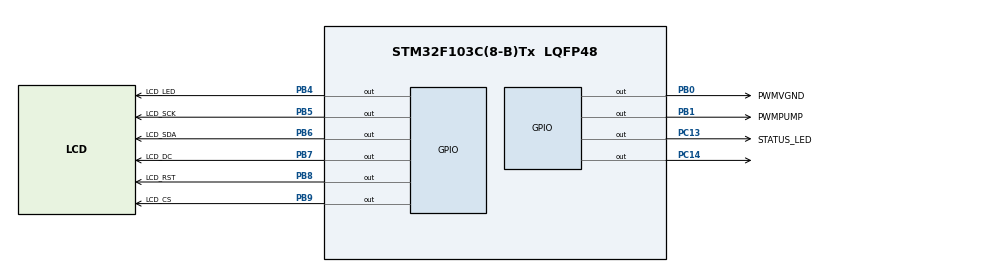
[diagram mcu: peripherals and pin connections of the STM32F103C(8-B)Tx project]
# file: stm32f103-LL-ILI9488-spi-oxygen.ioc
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Mcu.Family=STM32F1
PB7.GPIO_PuPd=GPIO_NOPULL
RCC.PLLSourceVirtual=RCC_PLLSOURCE_HSE
PB5.GPIO_ModeDefaultOutputPP=GPIO_MODE_OUTPUT_PP
FREERTOS.Tasks01=defaultTask,0,64,StartDefaultTask,Default,NULL,Dynamic,NULL,NULL;myTask02,-3,64,StartTask02,Default,NULL,Dynamic,NULL,NULL;myTask03,-2,64,StartTask03,Default,NULL,Dynamic,NULL,NULL;myTask04,-1,256,StartTask04,Default,NULL,Dynamic,NULL,NULL;myTask05,-3,64,StartTask05,Default,NULL,Dynamic,NULL,NULL;myTask06,-3,64,StartTask06,Default,NULL,Dynamic,NULL,NULL
PD1-OSC_OUT.Mode=HSE-External-Oscillator
PB9.GPIO_Label=LCD_CS
PB6.GPIO_PuPd=GPIO_NOPULL
PB8.GPIO_PuPd=GPIO_NOPULL
PB9.GPIO_ModeDefaultOutputPP=GPIO_MODE_OUTPUT_PP
PC13-TAMPER-RTC.Signal=GPIO_Output
PB0.GPIO_Label=PWMVGND
PB6.GPIO_Label=LCD_SDA
PD0-OSC_IN.Signal=RCC_OSC_IN
RCC.APB1CLKDivider=RCC_HCLK_DIV4
PC14-OSC32_IN.Signal=GPIO_Output
RCC.SYSCLKSource=RCC_SYSCLKSOURCE_PLLCLK
ProjectManager.StackSize=0x800
PD1-OSC_OUT.Signal=RCC_OSC_OUT
RCC.ADCPresc=RCC_ADCPCLK2_DIV6
PA13.Signal=SYS_JTMS-SWDIO
PB8.GPIO_Label=LCD_RST
ProjectManager.TargetToolchain=Makefile
RCC.HCLKFreq_Value=128000000
RCC.APB2TimFreq_Value=128000000
TIM3.Period=255
PB6.Signal=GPIO_Output
PB5.PinState=GPIO_PIN_RESET
PB4.GPIO_PuPd=GPIO_NOPULL
RCC.USBFreq_Value=128000000
FREERTOS.configMINIMAL_STACK_SIZE=64
RCC.AHBFreq_Value=128000000
PD0-OSC_IN.Mode=HSE-External-Oscillator
board=custom
PC13-TAMPER-RTC.GPIO_Label=STATUS_LED
RCC.PLLMUL=RCC_PLL_MUL16
PB4.GPIO_Speed=GPIO_SPEED_FREQ_LOW
RCC.APB2Freq_Value=64000000
PB4.GPIO_Label=LCD_LED
PC13-TAMPER-RTC.PinState=GPIO_PIN_RESET
PA14.Mode=Serial_Wire
PB7.GPIO_ModeDefaultOutputPP=GPIO_MODE_OUTPUT_PP
TIM3.Prescaler=100
PB1.GPIO_Label=PWMPUMP
PB8.PinState=GPIO_PIN_RESET
PB7.Signal=GPIO_Output
PC13-TAMPER-RTC.GPIO_Speed=GPIO_SPEED_FREQ_LOW
VP_FREERTOS_VS_CMSIS_V1.Mode=CMSIS_V1
PA13.Mode=Serial_Wire
Mcu.Name=STM32F103C(8-B)Tx
FREERTOS.configTOTAL_HEAP_SIZE=5680
PB7.PinState=GPIO_PIN_RESET
PB7.GPIO_Label=LCD_DC
RCC.SYSCLKFreq_VALUE=128000000
PC13-TAMPER-RTC.GPIO_ModeDefaultOutputPP=GPIO_MODE_OUTPUT_PP
Mcu.Package=LQFP48
PB5.Signal=GPIO_Output
PB9.Signal=GPIO_Output
PB1.Signal=GPIO_Output
PB5.GPIO_PuPd=GPIO_NOPULL
PC13-TAMPER-RTC.GPIO_PuPd=GPIO_NOPULL
PB9.PinState=GPIO_PIN_RESET
PB6.PinState=GPIO_PIN_RESET
PB6.GPIO_ModeDefaultOutputPP=GPIO_MODE_OUTPUT_PP
PA14.Signal=SYS_JTCK-SWCLK
PB9.GPIO_PuPd=GPIO_NOPULL
ProjectManager.HeapSize=0x1000
PB8.GPIO_ModeDefaultOutputPP=GPIO_MODE_OUTPUT_PP
PB5.GPIO_Speed=GPIO_SPEED_FREQ_HIGH
NVIC.PriorityGroup=NVIC_PRIORITYGROUP_4
RCC.APB2CLKDivider=RCC_HCLK_DIV2
PB9.GPIO_Speed=GPIO_SPEED_FREQ_LOW
PB5.GPIO_Label=LCD_SCK
RCC.APB1TimFreq_Value=64000000
PB8.Signal=GPIO_Output
PB6.GPIO_Speed=GPIO_SPEED_FREQ_HIGH
RCC.APB1Freq_Value=32000000
PB8.GPIO_Speed=GPIO_SPEED_FREQ_LOW
PB0.Signal=GPIO_Output
PB4.PinState=GPIO_PIN_RESET
VP_TIM3_VS_ClockSourceINT.Mode=Internal
PB4.Signal=GPIO_Output
PB4.GPIO_ModeDefaultOutputPP=GPIO_MODE_OUTPUT_PP
PB7.GPIO_Speed=GPIO_SPEED_FREQ_LOW

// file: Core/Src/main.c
/* USER CODE BEGIN Header */
/**
  ******************************************************************************
  * @file           : main.c
  * @brief          : Main program body
  ******************************************************************************
  * @attention
  *
  * <h2><center>&copy; Copyright (c) 2019 STMicroelectronics.
  * All rights reserved.</center></h2>
  *
  * This software component is licensed by ST under BSD 3-Clause license,
  * the "License"; You may not use this file except in compliance with the
  * License. You may obtain a copy of the License at:
  *                        opensource.org/licenses/BSD-3-Clause
  *
  ******************************************************************************
  */
/* USER CODE END Header */
#include "main.h"
#include "cmsis_os.h"
#include "tim.h"
#include "gpio.h"

/* USER CODE BEGIN Includes */
#include "adc_cfg.h"
#include <math.h>
//#include <stdlib.h>
#include "ILI9488.h"
#include "soft_lcd.h"
#include "soft_adc.h"
#include "soft_ina219.h"
#include "soft_pcf8591.h"

#include "pins_ext.h"

#define m_PI 3.14159

uint32_t adcResult = 0;
uint32_t max_result = 0;
float real_result[160] = {0};

uint16_t adc_counter = 0;
uint16_t i = 0;

uint16_t coord_x[160] = {0};
uint16_t coord_y[160] = {0};

uint32_t tim_counter = 0;
void fill_text(uint16_t i);

lcd_t *lcd; // pointer to i2c object, for lcd module
adc_t *adc; // pointer to i2c object, for ads1115
ina_t *ina; // pointer to i2c object, for ina219

void fill_buff(uint16_t i)
{
  if(i>158)
  {
    max_result = 0;
    for(uint16_t i = 0; i < 160; i++)
    {
      // ILI9488_fillCircle(coord_x[i], coord_y[i], 2, ILI9488_BLACK);
      // ILI9488_drawLine(coord_x[i], coord_y[i], coord_x[i-1], coord_y[i-1], ILI9488_BLACK); //(  x0,y0,x1,y1,color);
      // ILI9488_drawLine(coord_x[i], coord_y[i]+1, coord_x[i-1], coord_y[i-1]+1, ILI9488_BLACK); //(  x0,y0,x1,y1,color);
      ILI9488_drawLine(coord_x[i], coord_y[i]-1, coord_x[i-1], coord_y[i-1]-1, ILI9488_BLACK); //(  x0,y0,x1,y1,color);
      // ILI9488_drawLine(coord_x[i]+1, coord_y[i], coord_x[i-1]+1, coord_y[i-1], ILI9488_BLACK); //(  x0,y0,x1,y1,color);
      ILI9488_drawLine(coord_x[i]-1, coord_y[i], coord_x[i-1]-1, coord_y[i-1], ILI9488_BLACK); //(  x0,y0,x1,y1,color);
    }

    // ILI9488_fillScreen(ILI9488_BLACK);
    for(uint16_t i = 5; i<160; i+=23) ILI9488_drawLine( i, 10, i, 230, ILI9488_WHITE); //draw vertical lines
    for(uint16_t i = 10; i<128; i+=22) ILI9488_drawLine( 10, i, 300, i, ILI9488_WHITE); //draw horizontal lines
    ILI9488_drawLine( 10, 119, 300, 119, ILI9488_WHITE); //draw horizontal lines
    // ILI9488_drawLine( 10, 121, 300, 121, ILI9488_WHITE); //draw horizontal lines
    fill_text(i);
  }

  while(adc_counter < 12) // Пока количество измерений меньше N
  {
    adcResult += read_adc(ADC1, 0);
    adc_counter++; // Увеличиваем счетчик измерений
  }

  coord_x[i] = i; // сохраняем координаты <cord_x/y> в буфер для последующей очистки дисплея
  coord_y[i] = 230-adcResult/adc_counter/18; // Вычисляем среднее значение
  real_result[i] = adcResult/adc_counter*0.82; // 3300/4096=0.80566 Вычисляем среднее значение

  if(real_result[i]<500) real_result[i] = 0;
  if(real_result[i]>500) real_result[i] -= 500;
  real_result[i] *= .4; // значение в барах

  adcResult = 0; // Обнуляем значение
  adc_counter = 0; // Обнуляем счетчик измерений
  if(real_result[i]>max_result) max_result = real_result[i]; // сохранение максимального числа
}

void write_graph(uint16_t i)
{
  if(i) // draw values
  {
    // fill_text(i);
    // ILI9488_fillCircle(coord_x[i], coord_y[i], 2, ILI9488_YELLOW);
    // ILI9488_drawLine(coord_x[i], coord_y[i], coord_x[i-1], coord_y[i-1], ILI9488_CYAN); //(  x0,y0,x1,y1,color);
    // ILI9488_drawLine(coord_x[i], coord_y[i]+1, coord_x[i-1], coord_y[i-1]+1, ILI9488_GREEN); //(  x0,y0,x1,y1,color);
    ILI9488_drawLine(coord_x[i], coord_y[i]-1, coord_x[i-1], coord_y[i-1]-1, ILI9488_CYAN); //(  x0,y0,x1,y1,color);
    // ILI9488_drawLine(coord_x[i]+1, coord_y[i], coord_x[i-1]+1, coord_y[i-1], ILI9488_GREEN); //(  x0,y0,x1,y1,color);
    ILI9488_drawLine(coord_x[i]-1, coord_y[i], coord_x[i-1]-1, coord_y[i-1], ILI9488_CYAN); //(  x0,y0,x1,y1,color);
  }
}

void fill_text(uint16_t i)
{
  ILI9488_setTextBgColor(ILI9488_BLACK);

  ILI9488_setTextSize(2);
  ILI9488_setTextColor(ILI9488_YELLOW);

  read_adc(ADC1, 0); // heed for rank count
  ILI9488_setCursor(10,  10); ILI9488_draw_value(read_adc(ADC1, 1));
  ILI9488_setCursor(10,  45); ILI9488_draw_value(read_adc(ADC1, 2));
  ILI9488_setCursor(10,  80); ILI9488_draw_value(read_adc(ADC1, 3));
  ILI9488_setCursor(10, 115); ILI9488_draw_value(read_adc(ADC1, 4));
  ILI9488_setCursor(10, 150); ILI9488_draw_value(read_adc(ADC1, 5));
  ILI9488_setCursor(10, 185); ILI9488_draw_value(read_adc(ADC1, 6));
}

void stled_off(void)
{
  LL_GPIO_SetOutputPin(STATUS_LED_GPIO_Port, STATUS_LED_Pin);
}

void stled_on(void)
{
  LL_GPIO_ResetOutputPin(STATUS_LED_GPIO_Port, STATUS_LED_Pin);
}

/* USER CODE END Includes */

/* USER CODE BEGIN PV */
/* Private variables ---------------------------------------------------------*/

/* USER CODE END PV */

void SystemClock_Config(void);
void MX_FREERTOS_Init(void);
/* USER CODE BEGIN PFP */
/* Private function prototypes -----------------------------------------------*/

void i2c_lcd_bus(void);
void i2c_ads1115_bus(void);
void i2c_ina219_bus(void);

/*!
** the callback function from TIM4_IRQHandler
** period the tick timer one clock makes 10 mksec
**/

/*!
** the create i2c objects
**/
void i2c_ads1115_bus(void)
{
  #define adc_address 0x48
  #define adc_scl LL_GPIO_PIN_5
  #define adc_sda LL_GPIO_PIN_4

  adc = ads1115_create(GPIOB, adc_scl, adc_sda, adc_address);
}

/*!
** the create i2c objects
**/
void i2c_ina219_bus(void)
{
  #define ina_address 0x40
  #define ina_scl LL_GPIO_PIN_7
  #define ina_sda LL_GPIO_PIN_6

  ina = ina219_create(GPIOB, ina_scl, ina_sda, ina_address);
}

/*!
** the create i2c objects
**/
void i2c_lcd_bus(void)
{
  #define i2c_lcd_address 0x3f
  #define lcd_scl LL_GPIO_PIN_4
  #define lcd_sda LL_GPIO_PIN_3

  lcd = lcd_create(GPIOB, lcd_scl, lcd_sda, i2c_lcd_address, 4);
}

/*!
** the runnind measure and show result
**/
void show_ina219(lcd_t *lcd, ina_t *ina)
{
  float shuntvoltage = 0;
  float busvoltage = 0;
  float current_mA = 0;
  float power_mW = 0;

  shuntvoltage = ina219_getShuntVoltage_mV(ina);
  busvoltage = ina219_getBusVoltage_V(ina);
  current_mA = ina219_getCurrent_mA(ina);
  power_mW = ina219_getPower_mW(ina);

  lcd_pos(lcd, 0,6); lcd_print(lcd, "ShuntV"); lcd_pos(lcd, 0,14);lcd_printdigit(lcd, shuntvoltage);
  lcd_pos(lcd, 1,6); lcd_print(lcd, "Bus  V"); lcd_pos(lcd, 1,14);lcd_printdigit(lcd, busvoltage);
  lcd_pos(lcd, 2,6); lcd_print(lcd, "cur mA"); lcd_pos(lcd, 2,14);lcd_printdigit(lcd, current_mA);
  lcd_pos(lcd, 3,6); lcd_print(lcd, "pwr mW"); lcd_pos(lcd, 3,14);lcd_printdigit(lcd, power_mW);
}

/*!
** the runnind measure and show result
**/
void show_ads1115(lcd_t *lcd, adc_t *adc)
{
  uint16_t val = 0;
  const float VPS = 6.144 / 32768.0;  // volts per step

  float measure_1;
  float measure_2;

  ads1115_set_single_channal(adc, 3);
  val = ads1115_get(adc);

  uint8_t gain = 1;
  uint8_t diff_in = 1;
  ads1115_set_diff_channal(adc, diff_in, gain);
  measure_1 = get_diff_measure(adc, gain);

  gain = 1;
  diff_in = 2;
  ads1115_set_diff_channal(adc, diff_in, gain);
  measure_2 = get_diff_measure(adc, gain);

  lcd_pos(lcd, 0,0); lcd_printdigit(lcd, val*VPS);
  lcd_pos(lcd, 1,0); lcd_printdigit(lcd, measure_1);
  lcd_pos(lcd, 2,0); lcd_printdigit(lcd, measure_2);
}

/* USER CODE END PFP */

int main(void)
{

  /* MCU Configuration--------------------------------------------------------*/

  /* Reset of all peripherals, Initializes the Flash interface and the Systick. */

  LL_APB2_GRP1_EnableClock(LL_APB2_GRP1_PERIPH_AFIO);
  LL_APB1_GRP1_EnableClock(LL_APB1_GRP1_PERIPH_PWR);

  NVIC_SetPriorityGrouping(NVIC_PRIORITYGROUP_4);

  /* System interrupt init*/
  /* PendSV_IRQn interrupt configuration */
  NVIC_SetPriority(PendSV_IRQn, NVIC_EncodePriority(NVIC_GetPriorityGrouping(),15, 0));
  /* SysTick_IRQn interrupt configuration */
  NVIC_SetPriority(SysTick_IRQn, NVIC_EncodePriority(NVIC_GetPriorityGrouping(),15, 0));

  /** NOJTAG: JTAG-DP Disabled and SW-DP Enabled
  */
  LL_GPIO_AF_Remap_SWJ_NOJTAG();

  /* Configure the system clock */
  SystemClock_Config();

  /* Initialize all configured peripherals */
  MX_GPIO_Init();
  MX_TIM3_Init();
  /* USER CODE BEGIN 2 */
  ADC_Init(ADC1);
  lcd_reset();
  stled_off();

  ILI9488_begin();
  ILI9488_setRotation(3);
  ILI9488_fillScreen(ILI9488_BLACK);

  /*
  uint8_t w_tft = 160;
  uint8_t h_tft = 128;
  uint8_t top = 8;
  uint8_t bot = h_tft-8;
  for(uint16_t i =  0; i<=w_tft; i+=w_tft/2-top/2) ILI9488_drawLine( i, top, i, bot, ILI9488_WHITE); // draw vertical lines
  for(uint16_t i =   8; i<h_tft; i+=36) ILI9488_drawLine( 14, i, w_tft-18, i, ILI9488_WHITE); // draw horizontal lines
  */

  // ILI9488_drawLine( 10, h_tft/2-1, w_tft-10, h_tft/2-1, ILI9488_WHITE); //draw horizontal lines
  // ILI9488_drawLine( 10, 121, 300, 121, ILI9488_WHITE); //draw horizontal lines

  uint8_t time[] = "time";
  ILI9488_setRotation(0);
  ILI9488_setTextSize(2);
  ILI9488_setTextBgColor(ILI9488_BLACK);
  ILI9488_setTextColor(ILI9488_CYAN);
  ILI9488_setCursor(8,   24); ILI9488_writeString(time); // getTickCount
  ILI9488_setRotation(3);
//   ILI9488_drawRect(8,  12, 140, 52, ILI9488_RED);
//   ILI9488_drawRect(8,  64, 140, 52, ILI9488_YELLOW);
//   ILI9488_drawRect(8, 116, 140, 52, ILI9488_BLUE);
  ILI9488_setTextSize(2);

  /**
   * @uncomment active:
   */
  // i2c_lcd_bus();
  // lcd_pos(lcd, 0,6); lcd_print(lcd, "test");
  // i2c_ads1115_bus();
  // i2c_ina219_bus();
  // write_grid();
  /* USER CODE END 2 */

  /* Call init function for freertos objects (in freertos.c) */
  MX_FREERTOS_Init();
  /* Start scheduler */
  osKernelStart();

  /* We should never get here as control is now taken by the scheduler */
  /* Infinite loop */
  /* USER CODE BEGIN WHILE */

  // HAL_TIM_Base_Init(&htim3);
  // HAL_TIM_PeriodElapsedCallback(&htim3);
  // HAL_TIM_Base_Start_IT(&htim3); //запустим таймер

  // HAL_TIM_Base_Init(&htim4);
  // HAL_TIM_Base_Start_IT(&htim4); //запустим таймер

  for(uint8_t i=0;i<31;i++)
  {
    LL_GPIO_TogglePin(STATUS_LED_GPIO_Port, STATUS_LED_Pin);
    LL_mDelay(25);
  }

  while (1)
  {
    /* USER CODE END WHILE */

    /* USER CODE BEGIN 3 */
    for(uint16_t i = 0; i < 160; i++) // measurement and display redraw
    {
      LL_mDelay(1);
      fill_buff(i);
      write_graph(i);
    }
  }
  /* USER CODE END 3 */
}

void SystemClock_Config(void)
{
  LL_FLASH_SetLatency(LL_FLASH_LATENCY_2);
  while(LL_FLASH_GetLatency()!= LL_FLASH_LATENCY_2)
  {
  }
  LL_RCC_HSE_Enable();

   /* Wait till HSE is ready */
  while(LL_RCC_HSE_IsReady() != 1)
  {

  }
  LL_RCC_PLL_ConfigDomain_SYS(LL_RCC_PLLSOURCE_HSE_DIV_1, LL_RCC_PLL_MUL_16);
  LL_RCC_PLL_Enable();

   /* Wait till PLL is ready */
  while(LL_RCC_PLL_IsReady() != 1)
  {

  }
  LL_RCC_SetAHBPrescaler(LL_RCC_SYSCLK_DIV_1);
  LL_RCC_SetAPB1Prescaler(LL_RCC_APB1_DIV_4);
  LL_RCC_SetAPB2Prescaler(LL_RCC_APB2_DIV_2);
  LL_RCC_SetSysClkSource(LL_RCC_SYS_CLKSOURCE_PLL);

   /* Wait till System clock is ready */
  while(LL_RCC_GetSysClkSource() != LL_RCC_SYS_CLKSOURCE_STATUS_PLL)
  {

  }
  LL_Init1msTick(128000000);
  LL_SetSystemCoreClock(128000000);
}

void Error_Handler(void)
{
}

/************************ (C) COPYRIGHT STMicroelectronics *****END OF FILE****/

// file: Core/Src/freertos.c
/* USER CODE BEGIN Header */
/**
  ******************************************************************************
  * File Name          : freertos.c
  * Description        : Code for freertos applications
  ******************************************************************************
  * @attention
  *
  * <h2><center>&copy; Copyright (c) 2019 STMicroelectronics.
  * All rights reserved.</center></h2>
  *
  * This software component is licensed by ST under Ultimate Liberty license
  * SLA0044, the "License"; You may not use this file except in compliance with
  * the License. You may obtain a copy of the License at:
  *                             www.st.com/SLA0044
  *
  ******************************************************************************
  */
/* USER CODE END Header */

#include "FreeRTOS.h"
#include "task.h"
#include "main.h"
#include "cmsis_os.h"

/* USER CODE BEGIN Includes */
#include "ILI9488.h"
#include "adc_cfg.h"
#include "task_os.h"

/* USER CODE END Includes */

osThreadId defaultTaskHandle;
osThreadId myTask02Handle;
osThreadId myTask03Handle;
osThreadId myTask04Handle;
osThreadId myTask05Handle;
osThreadId myTask06Handle;

void StartDefaultTask(void const * argument);
void StartTask02(void const * argument);
void StartTask03(void const * argument);
void StartTask04(void const * argument);
void StartTask05(void const * argument);
void StartTask06(void const * argument);

void MX_FREERTOS_Init(void); /* (MISRA C 2004 rule 8.1) */

/* GetIdleTaskMemory prototype (linked to static allocation support) */
void vApplicationGetIdleTaskMemory( StaticTask_t **ppxIdleTaskTCBBuffer, StackType_t **ppxIdleTaskStackBuffer, uint32_t *pulIdleTaskStackSize );

/* USER CODE BEGIN GET_IDLE_TASK_MEMORY */
static StaticTask_t xIdleTaskTCBBuffer;
static StackType_t xIdleStack[configMINIMAL_STACK_SIZE];

void vApplicationGetIdleTaskMemory( StaticTask_t **ppxIdleTaskTCBBuffer, StackType_t **ppxIdleTaskStackBuffer, uint32_t *pulIdleTaskStackSize )
{
  *ppxIdleTaskTCBBuffer = &xIdleTaskTCBBuffer;
  *ppxIdleTaskStackBuffer = &xIdleStack[0];
  *pulIdleTaskStackSize = configMINIMAL_STACK_SIZE;
  /* place for user code */
}
/* USER CODE END GET_IDLE_TASK_MEMORY */

void MX_FREERTOS_Init(void) {

  /* Create the thread(s) */
  /* definition and creation of defaultTask */
  osThreadDef(defaultTask, StartDefaultTask, osPriorityNormal, 0, 64);
  defaultTaskHandle = osThreadCreate(osThread(defaultTask), NULL);

  /* definition and creation of myTask02 */
  osThreadDef(myTask02, StartTask02, osPriorityIdle, 0, 64);
  myTask02Handle = osThreadCreate(osThread(myTask02), NULL);

  /* definition and creation of myTask03 */
  osThreadDef(myTask03, StartTask03, osPriorityLow, 0, 64);
  myTask03Handle = osThreadCreate(osThread(myTask03), NULL);

  /* definition and creation of myTask04 */
  osThreadDef(myTask04, StartTask04, osPriorityBelowNormal, 0, 256);
  myTask04Handle = osThreadCreate(osThread(myTask04), NULL);

  /* definition and creation of myTask05 */
  osThreadDef(myTask05, StartTask05, osPriorityIdle, 0, 64);
  myTask05Handle = osThreadCreate(osThread(myTask05), NULL);

  /* definition and creation of myTask06 */
  osThreadDef(myTask06, StartTask06, osPriorityIdle, 0, 64);
  myTask06Handle = osThreadCreate(osThread(myTask06), NULL);

}

void StartDefaultTask(void const * argument)
{
  /* USER CODE BEGIN StartDefaultTask */
  /* Infinite loop */
  for(;;)
  {
    osDelay(1);
    DefaultTask(argument);
  }
  /* USER CODE END StartDefaultTask */
}

void StartTask02(void const * argument)
{
  /* USER CODE BEGIN StartTask02 */
  /* Infinite loop */
  for(;;)
  {
    osDelay(1);
    Task02(argument);
  }
  /* USER CODE END StartTask02 */
}

void StartTask03(void const * argument)
{
  /* USER CODE BEGIN StartTask03 */
  /* Infinite loop */
  for(;;)
  {
    osDelay(1);
    Task03(argument);
  }
  /* USER CODE END StartTask03 */
}

void StartTask04(void const * argument)
{
  /* USER CODE BEGIN StartTask04 */
  /* Infinite loop */
  for(;;)
  {
    osDelay(1);
    Task04(argument);
  }
  /* USER CODE END StartTask04 */
}

void StartTask05(void const * argument)
{
  /* USER CODE BEGIN StartTask05 */
  /* Infinite loop */
  for(;;)
  {
    Task05(argument);
    osDelay(1);
  }
  /* USER CODE END StartTask05 */
}

void StartTask06(void const * argument)
{
  /* USER CODE BEGIN StartTask06 */
  /* Infinite loop */
  for(;;)
  {
    Task06(argument);
    osDelay(1);
  }
  /* USER CODE END StartTask06 */
}

/************************ (C) COPYRIGHT STMicroelectronics *****END OF FILE****/
